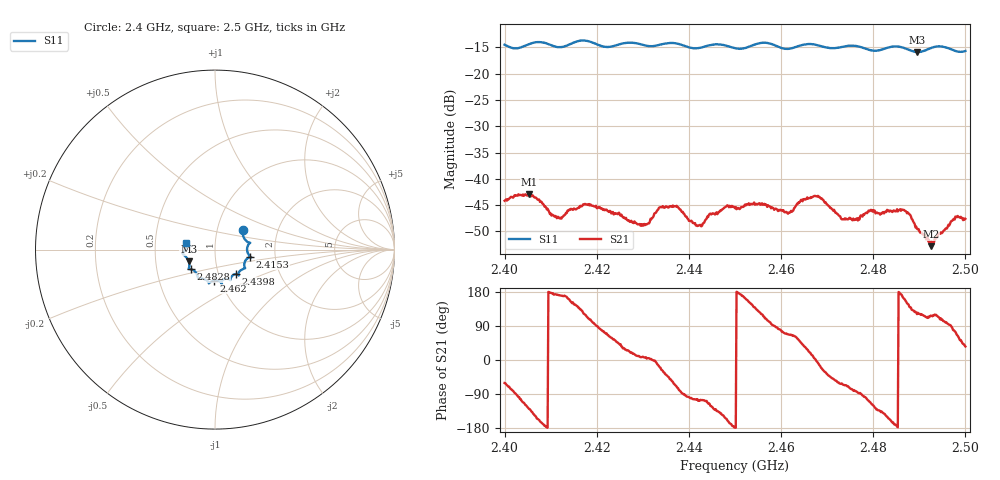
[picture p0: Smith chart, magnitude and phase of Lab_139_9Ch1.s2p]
# Hz S RI R 50
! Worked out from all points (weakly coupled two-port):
!   601 points, 2.4 GHz to 2.5 GHz, reference 50 ohm
!   highest |S21| = -42.92 dB at 2.4053 GHz (marker M1); lowest = -52.8 dB at 2.4925 GHz (marker M2)
!   lowest |S11| = -15.9 dB at 2.4895 GHz (marker M3), VSWR 1.38, Z = 36.9 - j5 ohm
!   |S11| at or under -10 dB: start of sweep to end of sweep
!   S12 and S22 are empty: the file has one direction only
!   S11 on the Smith chart (normalised r, x): 2.4 GHz: 1.33, +0.29; 2.4153 GHz: 1.48, -0.12; 2.4398 GHz: 1.21, -0.34; 2.462 GHz: 0.93, -0.33; 2.4828 GHz: 0.74, -0.17; 2.5 GHz: 0.72, +0.06
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2.4e9  0.155 0.1069  0.00302 -0.0054  0 0  0 0
2.405333e9  0.1871 0.0392  -0.00453 -0.00553  0 0  0 0
2.411833e9  0.1783 0.0023  -0.00418 0.000658  0 0  0 0
2.415333e9  0.1966 -0.0387  -0.00426 0.00286  0 0  0 0
2.416667e9  0.2023 -0.0426  -0.00359 0.0041  0 0  0 0
2.43e9  0.1529 -0.1098  0.00364 0.000556  0 0  0 0
2.433333e9  0.1308 -0.1336  0.00496 -0.00121  0 0  0 0
2.437333e9  0.1314 -0.1426  0.00186 -0.00522  0 0  0 0
2.439833e9  0.1155 -0.1363  -0.000527 -0.0041  0 0  0 0
2.442333e9  0.0932 -0.1494  -0.00109 -0.00347  0 0  0 0
2.444833e9  0.0844 -0.168  -0.0024 -0.00389  0 0  0 0
2.45e9  0.0648 -0.1624  -0.00525 -0.000151  0 0  0 0
2.462e9  -0.00499 -0.1732  0.00196 0.00438  0 0  0 0
2.466667e9  -0.0344 -0.1879  0.00648 0.0015  0 0  0 0
2.4735e9  -0.0842 -0.1603  0.00172 -0.00376  0 0  0 0
2.482833e9  -0.1363 -0.1097  -0.00409 -0.00256  0 0  0 0
2.483333e9  -0.1402 -0.1094  -0.0045 -0.00215  0 0  0 0
2.487e9  -0.1436 -0.0975  -0.00453 0.00198  0 0  0 0
2.4895e9  -0.1464 -0.0659  -0.00172 0.00286  0 0  0 0
2.4925e9  -0.1725 -0.0305  -0.00104 0.00203  0 0  0 0
2.497833e9  -0.1646 0.00299  0.00121 0.00421  0 0  0 0
2.5e9  -0.1596 0.0391  0.00338 0.00243  0 0  0 0
